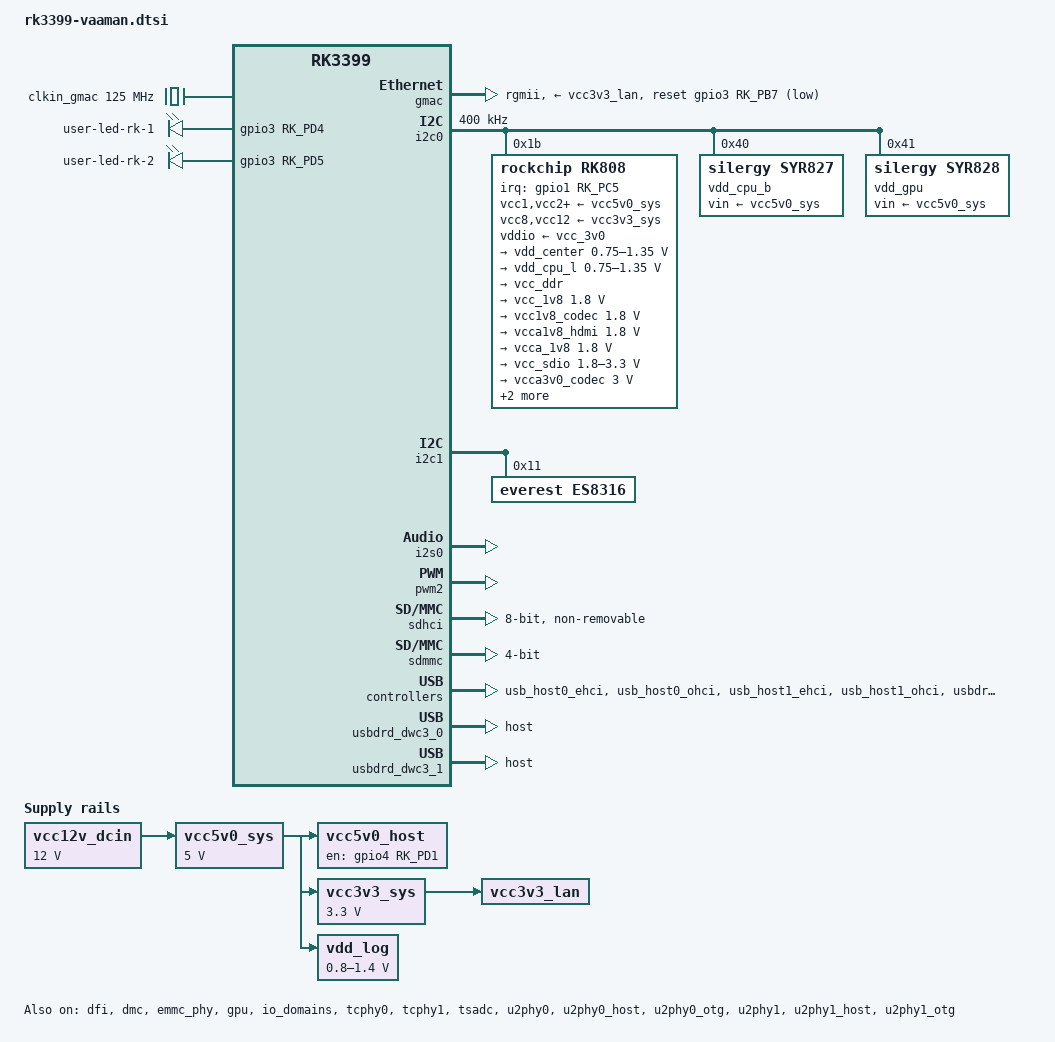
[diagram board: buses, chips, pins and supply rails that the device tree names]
// SPDX-License-Identifier: (GPL-2.0+ OR MIT)
/*
 * Copyright (C) 2023 Vicharak Computers LLP
 */

#include <dt-bindings/leds/common.h>
#include "rk3399.dtsi"
#include "rk3399-opp.dtsi"

/ {
	compatible = "vicharak,rk3399-vaaman", "rockchip,rk3399";

	clkin_gmac: external-gmac-clock {
		compatible = "fixed-clock";
		clock-frequency = <125000000>;
		clock-output-names = "clkin_gmac";
		#clock-cells = <0>;
	};

	es8316-sound {
		status = "okay";
		compatible = "simple-audio-card";
		simple-audio-card,format = "i2s";
		simple-audio-card,name = "rockchip,es8316-codec";
		simple-audio-card,mclk-fs = <256>;
		simple-audio-card,widgets =
			"Microphone", "Mic Jack",
			"Headphone", "Headphone Jack";
		simple-audio-card,routing =
			"Mic Jack", "MICBIAS1",
			"IN1P", "Mic Jack",
			"Headphone Jack", "HPOL",
			"Headphone Jack", "HPOR";

		simple-audio-card,cpu {
			sound-dai = <&i2s0>;
		};

		simple-audio-card,codec {
			sound-dai = <&es8316>;
		};
	};

	leds {
		compatible = "gpio-leds";
		pinctrl-names = "default";
		pinctrl-0 = <&user_led_rk_1_gpio &user_led_rk_2_gpio>;

		user-led-rk-1 {
			function = LED_FUNCTION_POWER;
			gpios = <&gpio3 RK_PD4 GPIO_ACTIVE_HIGH>;
			default-state = "on";
			retain-state-suspended;
			linux,default-trigger = "default-on";
		};

		user-led-rk-2 {
			function = LED_FUNCTION_STATUS;
			gpios = <&gpio3 RK_PD5 GPIO_ACTIVE_HIGH>;
			default-state = "on";
			retain-state-suspended;
			linux,default-trigger = "heartbeat";
		};
	};

	vcc12v_dcin: vcc12v-dcin-regulator {
		compatible = "regulator-fixed";
		regulator-name = "vcc12v_dcin";
		regulator-always-on;
		regulator-boot-on;
		regulator-min-microvolt = <12000000>;
		regulator-max-microvolt = <12000000>;
	};

	vcc5v0_host: vcc5v0-host-regulator {
		compatible = "regulator-fixed";
		regulator-name = "vcc5v0_host";
		regulator-boot-on;
		regulator-always-on;
		enable-active-high;
		gpio = <&gpio4 RK_PD1 GPIO_ACTIVE_HIGH>;
		pinctrl-names = "default";
		pinctrl-0 = <&vcc5v0_host_en>;
		vin-supply = <&vcc5v0_sys>;
	};

	vcc5v0_sys: vcc5v0-sys-regulator {
		compatible = "regulator-fixed";
		regulator-name = "vcc5v0_sys";
		regulator-always-on;
		regulator-boot-on;
		regulator-min-microvolt = <5000000>;
		regulator-max-microvolt = <5000000>;
		vin-supply = <&vcc12v_dcin>;
	};

	vcc3v3_lan: vcc3v3-lan-regulator {
		compatible = "regulator-fixed";
		regulator-name = "vcc3v3_lan";
		regulator-always-on;
		regulator-boot-on;
		vin-supply = <&vcc3v3_sys>;
	};

	vcc3v3_sys: vcc3v3-sys-regulator {
		compatible = "regulator-fixed";
		regulator-name = "vcc3v3_sys";
		regulator-always-on;
		regulator-boot-on;
		regulator-min-microvolt = <3300000>;
		regulator-max-microvolt = <3300000>;
		vin-supply = <&vcc5v0_sys>;
	};

	vdd_log: vdd-log-regulator {
		compatible = "pwm-regulator";
		pwms = <&pwm2 0 25000 1>;
		pwm-supply = <&vcc5v0_sys>;
		regulator-name = "vdd_log";
		regulator-min-microvolt = <800000>;
		regulator-max-microvolt = <1400000>;
		regulator-always-on;
		regulator-boot-on;
		vin-supply = <&vcc5v0_sys>;
	};
};

&cpu_b0 {
	cpu-supply = <&vdd_cpu_b>;
};

&cpu_b1 {
	cpu-supply = <&vdd_cpu_b>;
};

&cpu_l0 {
	cpu-supply = <&vdd_cpu_l>;
};

&cpu_l1 {
	cpu-supply = <&vdd_cpu_l>;
};

&cpu_l2 {
	cpu-supply = <&vdd_cpu_l>;
};

&cpu_l3 {
	cpu-supply = <&vdd_cpu_l>;
};

&dfi {
	status = "okay";
};

&dmc {
	status = "okay";
	center-supply = <&vdd_log>;
	upthreshold = <40>;
	downdifferential = <20>;
	system-status-freq = <
		/*system status         freq(KHz)*/
		SYS_STATUS_NORMAL       856000
		SYS_STATUS_REBOOT       416000
		SYS_STATUS_SUSPEND      416000
		SYS_STATUS_VIDEO_1080P  856000
		SYS_STATUS_VIDEO_4K     856000
		SYS_STATUS_VIDEO_4K_10B 856000
		SYS_STATUS_PERFORMANCE  856000
		SYS_STATUS_BOOST        856000
		SYS_STATUS_DUALVIEW     856000
		SYS_STATUS_ISP          856000
	>;

	vop-bw-dmc-freq = <
	/* min_bw(MB/s) max_bw(MB/s) freq(KHz) */
		0       577      416000
		578     99999    856000
	>;

	vop-pn-msch-readlatency = <
	/* plane_number  readlatency */
		0       0x20
		4       0x20
	>;

	auto-min-freq = <416000>;
	auto-freq-en = <0>;
};

&dmc_opp_table {
	compatible = "operating-points-v2";

	opp-200000000 {
		opp-hz = /bits/ 64 <200000000>;
		opp-microvolt = <900000>;
		status = "disabled";
	};
	opp-300000000 {
		opp-hz = /bits/ 64 <300000000>;
		opp-microvolt = <900000>;
		status = "disabled";
	};
	opp-400000000 {
		opp-hz = /bits/ 64 <400000000>;
		opp-microvolt = <900000>;
		status = "disabled";
	};
	opp-416000000 {
		opp-hz = /bits/ 64 <416000000>;
		opp-microvolt = <1000000>;
	};
	opp-528000000 {
		opp-hz = /bits/ 64 <528000000>;
		opp-microvolt = <900000>;
		status = "disabled";
	};
	opp-600000000 {
		opp-hz = /bits/ 64 <600000000>;
		opp-microvolt = <900000>;
		status = "disabled";
	};
	opp-800000000 {
		opp-hz = /bits/ 64 <800000000>;
		opp-microvolt = <900000>;
		status = "disabled";
	};
	opp-856000000 {
		opp-hz = /bits/ 64 <856000000>;
		opp-microvolt = <1000000>;
	};
};

&emmc_phy {
	status = "okay";
};

&gmac {
	assigned-clocks = <&cru SCLK_RMII_SRC>;
	assigned-clock-parents = <&clkin_gmac>;
	clock_in_out = "input";
	phy-supply = <&vcc3v3_lan>;
	phy-mode = "rgmii";
	pinctrl-names = "default", "sleep";
	pinctrl-0 = <&rgmii_pins>;
	pinctrl-1 = <&rgmii_sleep_pins>;
	snps,reset-gpio = <&gpio3 RK_PB7 GPIO_ACTIVE_LOW>;
	snps,reset-active-low;
	snps,reset-delays-us = <0 10000 50000>;
	tx_delay = <0x28>;
	rx_delay = <0x11>;
	status = "okay";
};

&gpu {
	mali-supply = <&vdd_gpu>;
	status = "okay";
};

&i2c0 {
	clock-frequency = <400000>;
	i2c-scl-rising-time-ns = <168>;
	i2c-scl-falling-time-ns = <4>;
	status = "okay";

	rk808: pmic@1b {
		compatible = "rockchip,rk808";
		reg = <0x1b>;
		#clock-cells = <1>;
		clock-output-names = "xin32k", "rk808-clkout2";
		interrupt-parent = <&gpio1>;
		interrupts = <RK_PC5 IRQ_TYPE_LEVEL_LOW>;
		pinctrl-names = "default";
		pinctrl-0 = <&pmic_int_l>;
		rockchip,system-power-controller;
		wakeup-source;

		vcc1-supply = <&vcc5v0_sys>;
		vcc2-supply = <&vcc5v0_sys>;
		vcc3-supply = <&vcc5v0_sys>;
		vcc4-supply = <&vcc5v0_sys>;
		vcc6-supply = <&vcc5v0_sys>;
		vcc7-supply = <&vcc5v0_sys>;
		vcc8-supply = <&vcc3v3_sys>;
		vcc9-supply = <&vcc5v0_sys>;
		vcc10-supply = <&vcc5v0_sys>;
		vcc11-supply = <&vcc5v0_sys>;
		vcc12-supply = <&vcc3v3_sys>;
		vddio-supply = <&vcc_3v0>;

		regulators {
			vdd_center: DCDC_REG1 {
				regulator-name = "vdd_center";
				regulator-always-on;
				regulator-boot-on;
				regulator-min-microvolt = <750000>;
				regulator-max-microvolt = <1350000>;
				regulator-ramp-delay = <6001>;

				regulator-state-mem {
					regulator-off-in-suspend;
				};
			};

			vdd_cpu_l: DCDC_REG2 {
				regulator-name = "vdd_cpu_l";
				regulator-always-on;
				regulator-boot-on;
				regulator-min-microvolt = <750000>;
				regulator-max-microvolt = <1350000>;
				regulator-ramp-delay = <6001>;

				regulator-state-mem {
					regulator-off-in-suspend;
				};
			};

			vcc_ddr: DCDC_REG3 {
				regulator-name = "vcc_ddr";
				regulator-always-on;
				regulator-boot-on;

				regulator-state-mem {
					regulator-on-in-suspend;
				};
			};

			vcc_1v8: DCDC_REG4 {
				regulator-name = "vcc_1v8";
				regulator-always-on;
				regulator-boot-on;
				regulator-min-microvolt = <1800000>;
				regulator-max-microvolt = <1800000>;

				regulator-state-mem {
					regulator-on-in-suspend;
					regulator-suspend-microvolt = <1800000>;
				};
			};

			vcc1v8_codec: LDO_REG1 {
				regulator-name = "vcc1v8_codec";
				regulator-always-on;
				regulator-boot-on;
				regulator-min-microvolt = <1800000>;
				regulator-max-microvolt = <1800000>;

				regulator-state-mem {
					regulator-on-in-suspend;
					regulator-suspend-microvolt = <1800000>;
				};
			};

			vcca1v8_hdmi: LDO_REG2 {
				regulator-name = "vcca1v8_hdmi";
				regulator-always-on;
				regulator-boot-on;
				regulator-min-microvolt = <1800000>;
				regulator-max-microvolt = <1800000>;

				regulator-state-mem {
					regulator-on-in-suspend;
					regulator-suspend-microvolt = <1800000>;
				};
			};

			vcca_1v8: LDO_REG3 {
				regulator-name = "vcca_1v8";
				regulator-always-on;
				regulator-boot-on;
				regulator-min-microvolt = <1800000>;
				regulator-max-microvolt = <1800000>;

				regulator-state-mem {
					regulator-on-in-suspend;
					regulator-suspend-microvolt = <1800000>;
				};
			};

			vcc_sdio: LDO_REG4 {
				regulator-name = "vcc_sdio";
				regulator-always-on;
				regulator-boot-on;
				regulator-min-microvolt = <1800000>;
				regulator-max-microvolt = <3300000>;

				regulator-state-mem {
					regulator-on-in-suspend;
					regulator-suspend-microvolt = <3300000>;
				};
			};

			vcca3v0_codec: LDO_REG5 {
				regulator-name = "vcca3v0_codec";
				regulator-always-on;
				regulator-boot-on;
				regulator-min-microvolt = <3000000>;
				regulator-max-microvolt = <3000000>;

				regulator-state-mem {
					regulator-on-in-suspend;
					regulator-suspend-microvolt = <3000000>;
				};
			};

			vcc_1v5: LDO_REG6 {
				regulator-name = "vcc_1v5";
				regulator-always-on;
				regulator-boot-on;
				regulator-min-microvolt = <1500000>;
				regulator-max-microvolt = <1500000>;

				regulator-state-mem {
					regulator-on-in-suspend;
					regulator-suspend-microvolt = <1500000>;
				};
			};

			vcca0v9_hdmi: LDO_REG7 {
				regulator-name = "vcca0v9_hdmi";
				regulator-always-on;
				regulator-boot-on;
				regulator-min-microvolt = <900000>;
				regulator-max-microvolt = <900000>;

				regulator-state-mem {
					regulator-on-in-suspend;
					regulator-suspend-microvolt = <900000>;
				};
			};

			vcc_3v0: LDO_REG8 {
				regulator-name = "vcc_3v0";
				regulator-always-on;
				regulator-boot-on;
				regulator-min-microvolt = <3000000>;
				regulator-max-microvolt = <3000000>;

				regulator-state-mem {
					regulator-on-in-suspend;
					regulator-suspend-microvolt = <3000000>;
				};
			};

			vcc_cam: SWITCH_REG1 {
				regulator-name = "vcc_cam";
				regulator-always-on;
				regulator-boot-on;

				regulator-state-mem {
					regulator-on-in-suspend;
				};
			};

			vcc_mipi: SWITCH_REG2 {
				regulator-name = "vcc_mipi";
				regulator-always-on;
				regulator-boot-on;

				regulator-state-mem {
					regulator-on-in-suspend;
				};
			};
		};
	};

	vdd_cpu_b: regulator@40 {
		compatible = "silergy,syr827";
		reg = <0x40>;
		fcs,suspend-voltage-selector = <1>;
		pinctrl-names = "default";
		pinctrl-0 = <&vsel1_pin>;
		regulator-name = "vdd_cpu_b";
		regulator-min-microvolt = <712500>;
		regulator-max-microvolt = <1500000>;
		regulator-ramp-delay = <1000>;
		regulator-always-on;
		regulator-boot-on;
		vin-supply = <&vcc5v0_sys>;

		regulator-state-mem {
			regulator-off-in-suspend;
		};
	};

	vdd_gpu: regulator@41 {
		compatible = "silergy,syr828";
		reg = <0x41>;
		fcs,suspend-voltage-selector = <1>;
		pinctrl-names = "default";
		pinctrl-0 = <&vsel2_pin>;
		regulator-name = "vdd_gpu";
		regulator-min-microvolt = <712500>;
		regulator-max-microvolt = <1500000>;
		regulator-ramp-delay = <1000>;
		regulator-always-on;
		regulator-boot-on;
		vin-supply = <&vcc5v0_sys>;

		regulator-state-mem {
			regulator-off-in-suspend;
		};
	};
};

&i2c1 {
	i2c-scl-rising-time-ns = <300>;
	i2c-scl-falling-time-ns = <15>;
	status = "okay";

	es8316: es8316@11 {
		compatible = "everest,es8316";
		reg = <0x11>;
		clocks = <&cru SCLK_I2S_8CH_OUT>;
		clock-names = "mclk";
		pinctrl-names = "default";
		pinctrl-0 = <&i2s_8ch_mclk>;
		#sound-dai-cells = <0>;
	};
};

&i2s0 {
	status = "okay";
	rockchip,playback-channels = <2>;
	rockchip,capture-channels = <2>;
	#sound-dai-cells = <0>;
	pinctrl-names = "default";
	pinctrl-0 = <&i2s0_2ch_bus>;
};

&io_domains {
	audio-supply = <&vcc_3v0>;
	bt656-supply = <&vcc_3v0>;
	gpio1830-supply = <&vcc_3v0>;
	sdmmc-supply = <&vcc_sdio>;
	status = "okay";
};

&pinctrl {
	gmac {
		rgmii_sleep_pins: rgmii-sleep-pins {
			rockchip,pins =
				<3 RK_PB7 RK_FUNC_GPIO &pcfg_output_low>;
		};
	};

	leds {
		user_led_rk_1_gpio: user-led-rk-1-gpio {
			rockchip,pins =
				<3 RK_PD4 RK_FUNC_GPIO &pcfg_pull_none>;
		};

		user_led_rk_2_gpio: user-led-rk-2-gpio {
			rockchip,pins =
				<3 RK_PD5 RK_FUNC_GPIO &pcfg_pull_none>;
		};
	};

	pmic {
		pmic_int_l: pmic-int-l {
			rockchip,pins =
				<1 RK_PC5 RK_FUNC_GPIO &pcfg_pull_up>;
		};

		vsel1_pin: vsel1-pin {
			rockchip,pins =
				<1 RK_PC1 RK_FUNC_GPIO &pcfg_pull_down>;
		};

		vsel2_pin: vsel2-pin {
			rockchip,pins =
				<1 RK_PB6 RK_FUNC_GPIO &pcfg_pull_down>;
		};
	};

	usb2 {
		vcc5v0_host_en: vcc5v0-host-en {
			rockchip,pins =
				<4 RK_PD1 RK_FUNC_GPIO &pcfg_pull_none>;
		};
	};
};

&pmu_io_domains {
	pmu1830-supply = <&vcc_3v0>;
	status = "okay";
};

&pwm2 {
	status = "okay";
};

&sdhci {
	bus-width = <8>;
	keep-power-in-suspend;
	mmc-hs400-1_8v;
	mmc-hs400-enhanced-strobe;
	no-sd;
	no-sdio;
	non-removable;
	status = "okay";
};

&sdmmc {
	bus-width = <4>;
	cap-mmc-highspeed;
	cap-sd-highspeed;
	clock-freq-min-max = <100000 150000000>;
	clock-frequency = <150000000>;
	disable-wp;
	no-mmc;
	no-sdio;
	num-slots = <1>;
	pinctrl-0 = <&sdmmc_clk &sdmmc_cmd &sdmmc_cd &sdmmc_bus4>;
	pinctrl-names = "default";
	sd-uhs-sdr104;
	vqmmc-supply = <&vcc_sdio>;
	status = "okay";
};

&tcphy0 {
	status = "okay";
};

&tcphy1 {
	status = "okay";
};

&tsadc {
	rockchip,hw-tshut-mode = <1>;
	rockchip,hw-tshut-polarity = <1>;
	status = "okay";
};

&u2phy0 {
	status = "okay";
	wakeup-source;
};

&u2phy0_host {
	phy-supply = <&vcc5v0_host>;
	status = "okay";
};

&u2phy0_otg {
	status = "okay";
};

&u2phy1 {
	status = "okay";
	wakeup-source;
};

&u2phy1_host {
	phy-supply = <&vcc5v0_host>;
	status = "okay";
};

&u2phy1_otg {
	status = "okay";
};

&usb_host0_ehci {
	status = "okay";
};

&usb_host0_ohci {
	status = "okay";
};

&usb_host1_ehci {
	status = "okay";
};

&usb_host1_ohci {
	status = "okay";
};

&usbdrd3_0 {
	status = "okay";
};

&usbdrd3_1 {
	status = "okay";
};

&usbdrd_dwc3_0 {
	status = "okay";
	dr_mode = "host";
};

&usbdrd_dwc3_1 {
	status = "okay";
	dr_mode = "host";
};
